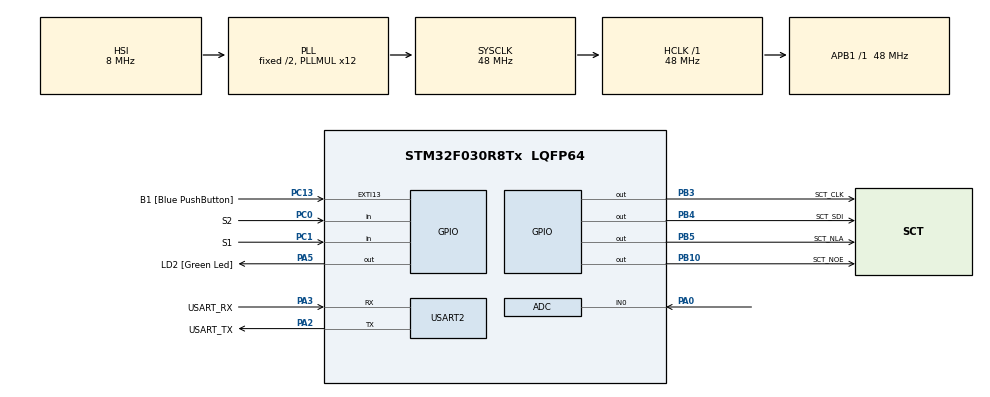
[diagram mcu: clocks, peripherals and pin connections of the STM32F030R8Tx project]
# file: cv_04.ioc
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ADC.ContinuousConvMode=ENABLE
ADC.Overrun=ADC_OVR_DATA_OVERWRITTEN
ADC.SamplingTime=ADC_SAMPLETIME_239CYCLES_5
Mcu.Family=STM32F0
Mcu.Name=STM32F030R8Tx
Mcu.Package=LQFP64
NVIC.ADC1_IRQn=true\:0\:0\:false\:false\:true\:true\:true
PA0.Mode=IN0
PA0.Signal=ADC_IN0
PA13.GPIO_Label=TMS
PA13.Mode=Serial_Wire
PA13.Signal=SYS_SWDIO
PA14.GPIO_Label=TCK
PA14.Mode=Serial_Wire
PA14.Signal=SYS_SWCLK
PA2.GPIO_Label=USART_TX
PA2.GPIO_Mode=GPIO_MODE_AF_PP
PA2.GPIO_PuPd=GPIO_NOPULL
PA2.GPIO_Speed=GPIO_SPEED_FREQ_LOW
PA2.Mode=Asynchronous
PA2.Signal=USART2_TX
PA3.GPIO_Label=USART_RX
PA3.GPIO_Mode=GPIO_MODE_AF_PP
PA3.GPIO_PuPd=GPIO_NOPULL
PA3.GPIO_Speed=GPIO_SPEED_FREQ_LOW
PA3.Mode=Asynchronous
PA3.Signal=USART2_RX
PA5.GPIO_Label=LD2 [Green Led]
PA5.GPIO_Mode=GPIO_MODE_OUTPUT_PP
PA5.GPIO_PuPd=GPIO_NOPULL
PA5.GPIO_Speed=GPIO_SPEED_FREQ_LOW
PA5.Signal=GPIO_Output
PB10.GPIO_Label=SCT_NOE
PB10.Signal=GPIO_Output
PB3.GPIO_Label=SCT_CLK
PB3.Signal=GPIO_Output
PB4.GPIO_Label=SCT_SDI
PB4.Signal=GPIO_Output
PB5.GPIO_Label=SCT_NLA
PB5.Signal=GPIO_Output
PC0.GPIO_Label=S2
PC0.GPIO_PuPd=GPIO_PULLUP
PC0.Signal=GPIO_Input
PC1.GPIO_Label=S1
PC1.GPIO_PuPd=GPIO_PULLUP
PC1.Signal=GPIO_Input
PC13.GPIO_Label=B1 [Blue PushButton]
PC13.GPIO_ModeDefaultEXTI=GPIO_MODE_IT_FALLING
PC13.Signal=GPXTI13
PC14-OSC32_IN.Mode=LSE-External-Oscillator
PC14-OSC32_IN.Signal=RCC_OSC32_IN
PC15-OSC32_OUT.Mode=LSE-External-Oscillator
PC15-OSC32_OUT.Signal=RCC_OSC32_OUT
PF0-OSC_IN.Mode=HSE-External-Clock-Source
PF0-OSC_IN.Signal=RCC_OSC_IN
PF1-OSC_OUT.Signal=RCC_OSC_OUT
ProjectManager.HeapSize=0x200
ProjectManager.StackSize=0x400
ProjectManager.TargetToolchain=STM32CubeIDE
RCC.AHBFreq_Value=48000000
RCC.APB1Freq_Value=48000000
RCC.APB1TimFreq_Value=48000000
RCC.HCLKFreq_Value=48000000
RCC.PLLMUL=RCC_PLL_MUL12
RCC.SYSCLKFreq_VALUE=48000000
RCC.SYSCLKSource=RCC_SYSCLKSOURCE_PLLCLK
USART2.VirtualMode-Asynchronous=VM_ASYNC
VP_ADC_TempSens_Input.Mode=IN-TempSens
VP_ADC_Vref_Input.Mode=IN-Vrefint
board=NUCLEO-F030R8

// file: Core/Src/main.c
/* USER CODE BEGIN Header */
/**
  ******************************************************************************
  * @file           : main.c
  * @brief          : Main program body
  ******************************************************************************
  * @attention
  *
  * <h2><center>&copy; Copyright (c) 2020 STMicroelectronics.
  * All rights reserved.</center></h2>
  *
  * This software component is licensed by ST under BSD 3-Clause license,
  * the "License"; You may not use this file except in compliance with the
  * License. You may obtain a copy of the License at:
  *                        opensource.org/licenses/BSD-3-Clause
  *
  ******************************************************************************
  */
/* USER CODE END Header */
#include "main.h"

/* USER CODE BEGIN Includes */

#include "sct.h"

/* USER CODE END Includes */

/* USER CODE BEGIN PD */

#define ADC_Q 12

/* Temperature sensor calibration value address */
#define TEMP110_CAL_ADDR ((uint16_t*) ((uint32_t) 0x1FFFF7C2))
#define TEMP30_CAL_ADDR ((uint16_t*) ((uint32_t) 0x1FFFF7B8))

/* Internal voltage reference calibration value address */
#define VREFINT_CAL_ADDR ((uint16_t*) ((uint32_t) 0x1FFFF7BA))

/* USER CODE END PD */

ADC_HandleTypeDef hadc;

UART_HandleTypeDef huart2;

void SystemClock_Config(void);
static void MX_GPIO_Init(void);
static void MX_USART2_UART_Init(void);
static void MX_ADC_Init(void);

/* USER CODE BEGIN 0 */

static volatile uint32_t raw_pot;		// For data from ADC
static volatile uint32_t raw_temp;		// For data from ADC
static volatile uint32_t raw_volt;		// For data from ADC

void HAL_ADC_ConvCpltCallback(ADC_HandleTypeDef* hadc)
{
	static uint8_t channel = 0; // Channel switch: 0 - ADC disp, 1 - temperature, 2 - voltage

	static uint32_t avg_pot;

	if(channel == 0)
	{
		raw_pot = avg_pot >> ADC_Q;			// Exponential cumulation
		avg_pot -= raw_pot;
		avg_pot += HAL_ADC_GetValue(hadc); 	// Get value from ADC
	}
	else if(channel == 1)
	{
		raw_temp = HAL_ADC_GetValue(hadc); 	// Get temperature
	}
	else if(channel == 1)
	{
		raw_volt = HAL_ADC_GetValue(hadc); 	// Get voltage
	}

	if (__HAL_ADC_GET_FLAG(hadc, ADC_FLAG_EOS)) channel = 0; // Switch between ADC, temp, volt
	else channel++;

}

/* USER CODE END 0 */

int main(void)
{

  /* MCU Configuration--------------------------------------------------------*/

  /* Reset of all peripherals, Initializes the Flash interface and the Systick. */
  HAL_Init();

  /* Configure the system clock */
  SystemClock_Config();

  /* Initialize all configured peripherals */
  MX_GPIO_Init();
  MX_USART2_UART_Init();
  MX_ADC_Init();
  /* USER CODE BEGIN 2 */

  sct_init();							// Initialization a driver for 7seg display
  HAL_ADCEx_Calibration_Start(&hadc);	// ADC Calibration
  HAL_ADC_Start_IT(&hadc);				// ADC Start

  /* USER CODE END 2 */

  /* Infinite loop */
  while (1)
  {

    /* USER CODE BEGIN 3 */

	static enum {SHOW_POT, SHOW_VOLT, SHOW_TEMP} state = SHOW_POT; 	// fsm
	static uint32_t delay;

	if(HAL_GPIO_ReadPin(S1_GPIO_Port, S1_Pin))		// Push the S1
	{
		state = SHOW_VOLT;							// Change the state
		delay = HAL_GetTick();
	}
	if(HAL_GPIO_ReadPin(S2_GPIO_Port, S2_Pin))		// Push the S2
	{
		state = SHOW_TEMP;							// Change the state
		delay = HAL_GetTick();
	}

	if(state == SHOW_POT)
	{
		sct_value(raw_pot*500/4096, raw_pot*9/4096);	// Show the ADC value
	}
	else if(state == SHOW_TEMP)
	{
		int32_t temperature = (raw_temp-(int32_t)(*TEMP30_CAL_ADDR)); // Calculating the temperature
		temperature = temperature*(int32_t)(110 - 30);
		temperature = temperature/(int32_t)(*TEMP110_CAL_ADDR - *TEMP30_CAL_ADDR);
		temperature = temperature+30;

		sct_value(temperature, raw_pot*9/4096);			// Show the temperature at display
	}
	else if(state == SHOW_VOLT)
	{
		uint32_t voltage = 330*(*VREFINT_CAL_ADDR)/raw_volt;		// Calculate the voltage

		sct_value(voltage, raw_pot*9/4096);							// Show the voltage at display
	}

	if(HAL_GetTick() > delay + 1000)								// Set the state SHOW_POT after 1 s
	{
		state = SHOW_POT;
	}

  }
  /* USER CODE END 3 */
}

void SystemClock_Config(void)
{
  RCC_OscInitTypeDef RCC_OscInitStruct = {0};
  RCC_ClkInitTypeDef RCC_ClkInitStruct = {0};

  /** Initializes the RCC Oscillators according to the specified parameters
  * in the RCC_OscInitTypeDef structure.
  */
  RCC_OscInitStruct.OscillatorType = RCC_OSCILLATORTYPE_HSI|RCC_OSCILLATORTYPE_HSI14;
  RCC_OscInitStruct.HSIState = RCC_HSI_ON;
  RCC_OscInitStruct.HSI14State = RCC_HSI14_ON;
  RCC_OscInitStruct.HSICalibrationValue = RCC_HSICALIBRATION_DEFAULT;
  RCC_OscInitStruct.HSI14CalibrationValue = 16;
  RCC_OscInitStruct.PLL.PLLState = RCC_PLL_ON;
  RCC_OscInitStruct.PLL.PLLSource = RCC_PLLSOURCE_HSI;
  RCC_OscInitStruct.PLL.PLLMUL = RCC_PLL_MUL12;
  RCC_OscInitStruct.PLL.PREDIV = RCC_PREDIV_DIV1;
  if (HAL_RCC_OscConfig(&RCC_OscInitStruct) != HAL_OK)
  {
    Error_Handler();
  }
  /** Initializes the CPU, AHB and APB buses clocks
  */
  RCC_ClkInitStruct.ClockType = RCC_CLOCKTYPE_HCLK|RCC_CLOCKTYPE_SYSCLK
                              |RCC_CLOCKTYPE_PCLK1;
  RCC_ClkInitStruct.SYSCLKSource = RCC_SYSCLKSOURCE_PLLCLK;
  RCC_ClkInitStruct.AHBCLKDivider = RCC_SYSCLK_DIV1;
  RCC_ClkInitStruct.APB1CLKDivider = RCC_HCLK_DIV1;

  if (HAL_RCC_ClockConfig(&RCC_ClkInitStruct, FLASH_LATENCY_1) != HAL_OK)
  {
    Error_Handler();
  }
}

static void MX_ADC_Init(void)
{

  ADC_ChannelConfTypeDef sConfig = {0};

  /** Configure the global features of the ADC (Clock, Resolution, Data Alignment and number of conversion)
  */
  hadc.Instance = ADC1;
  hadc.Init.ClockPrescaler = ADC_CLOCK_ASYNC_DIV1;
  hadc.Init.Resolution = ADC_RESOLUTION_12B;
  hadc.Init.DataAlign = ADC_DATAALIGN_RIGHT;
  hadc.Init.ScanConvMode = ADC_SCAN_DIRECTION_FORWARD;
  hadc.Init.EOCSelection = ADC_EOC_SINGLE_CONV;
  hadc.Init.LowPowerAutoWait = DISABLE;
  hadc.Init.LowPowerAutoPowerOff = DISABLE;
  hadc.Init.ContinuousConvMode = ENABLE;
  hadc.Init.DiscontinuousConvMode = DISABLE;
  hadc.Init.ExternalTrigConv = ADC_SOFTWARE_START;
  hadc.Init.ExternalTrigConvEdge = ADC_EXTERNALTRIGCONVEDGE_NONE;
  hadc.Init.DMAContinuousRequests = DISABLE;
  hadc.Init.Overrun = ADC_OVR_DATA_OVERWRITTEN;
  if (HAL_ADC_Init(&hadc) != HAL_OK)
  {
    Error_Handler();
  }
  /** Configure for the selected ADC regular channel to be converted.
  */
  sConfig.Channel = ADC_CHANNEL_0;
  sConfig.Rank = ADC_RANK_CHANNEL_NUMBER;
  sConfig.SamplingTime = ADC_SAMPLETIME_239CYCLES_5;
  if (HAL_ADC_ConfigChannel(&hadc, &sConfig) != HAL_OK)
  {
    Error_Handler();
  }
  /** Configure for the selected ADC regular channel to be converted.
  */
  sConfig.Channel = ADC_CHANNEL_TEMPSENSOR;
  if (HAL_ADC_ConfigChannel(&hadc, &sConfig) != HAL_OK)
  {
    Error_Handler();
  }
  /** Configure for the selected ADC regular channel to be converted.
  */
  sConfig.Channel = ADC_CHANNEL_VREFINT;
  if (HAL_ADC_ConfigChannel(&hadc, &sConfig) != HAL_OK)
  {
    Error_Handler();
  }

}

static void MX_USART2_UART_Init(void)
{

  huart2.Instance = USART2;
  huart2.Init.BaudRate = 38400;
  huart2.Init.WordLength = UART_WORDLENGTH_8B;
  huart2.Init.StopBits = UART_STOPBITS_1;
  huart2.Init.Parity = UART_PARITY_NONE;
  huart2.Init.Mode = UART_MODE_TX_RX;
  huart2.Init.HwFlowCtl = UART_HWCONTROL_NONE;
  huart2.Init.OverSampling = UART_OVERSAMPLING_16;
  huart2.Init.OneBitSampling = UART_ONE_BIT_SAMPLE_DISABLE;
  huart2.AdvancedInit.AdvFeatureInit = UART_ADVFEATURE_NO_INIT;
  if (HAL_UART_Init(&huart2) != HAL_OK)
  {
    Error_Handler();
  }

}

static void MX_GPIO_Init(void)
{
  GPIO_InitTypeDef GPIO_InitStruct = {0};

  /* GPIO Ports Clock Enable */
  __HAL_RCC_GPIOC_CLK_ENABLE();
  __HAL_RCC_GPIOF_CLK_ENABLE();
  __HAL_RCC_GPIOA_CLK_ENABLE();
  __HAL_RCC_GPIOB_CLK_ENABLE();

  /*Configure GPIO pin Output Level */
  HAL_GPIO_WritePin(LD2_GPIO_Port, LD2_Pin, GPIO_PIN_RESET);

  /*Configure GPIO pin Output Level */
  HAL_GPIO_WritePin(GPIOB, SCT_NOE_Pin|SCT_CLK_Pin|SCT_SDI_Pin|SCT_NLA_Pin, GPIO_PIN_RESET);

  /*Configure GPIO pin : B1_Pin */
  GPIO_InitStruct.Pin = B1_Pin;
  GPIO_InitStruct.Mode = GPIO_MODE_IT_FALLING;
  GPIO_InitStruct.Pull = GPIO_NOPULL;
  HAL_GPIO_Init(B1_GPIO_Port, &GPIO_InitStruct);

  /*Configure GPIO pins : S2_Pin S1_Pin */
  GPIO_InitStruct.Pin = S2_Pin|S1_Pin;
  GPIO_InitStruct.Mode = GPIO_MODE_INPUT;
  GPIO_InitStruct.Pull = GPIO_PULLUP;
  HAL_GPIO_Init(GPIOC, &GPIO_InitStruct);

  /*Configure GPIO pin : LD2_Pin */
  GPIO_InitStruct.Pin = LD2_Pin;
  GPIO_InitStruct.Mode = GPIO_MODE_OUTPUT_PP;
  GPIO_InitStruct.Pull = GPIO_NOPULL;
  GPIO_InitStruct.Speed = GPIO_SPEED_FREQ_LOW;
  HAL_GPIO_Init(LD2_GPIO_Port, &GPIO_InitStruct);

  /*Configure GPIO pins : SCT_NOE_Pin SCT_CLK_Pin SCT_SDI_Pin SCT_NLA_Pin */
  GPIO_InitStruct.Pin = SCT_NOE_Pin|SCT_CLK_Pin|SCT_SDI_Pin|SCT_NLA_Pin;
  GPIO_InitStruct.Mode = GPIO_MODE_OUTPUT_PP;
  GPIO_InitStruct.Pull = GPIO_NOPULL;
  GPIO_InitStruct.Speed = GPIO_SPEED_FREQ_LOW;
  HAL_GPIO_Init(GPIOB, &GPIO_InitStruct);

}

void Error_Handler(void)
{
}

/************************ (C) COPYRIGHT STMicroelectronics *****END OF FILE****/
